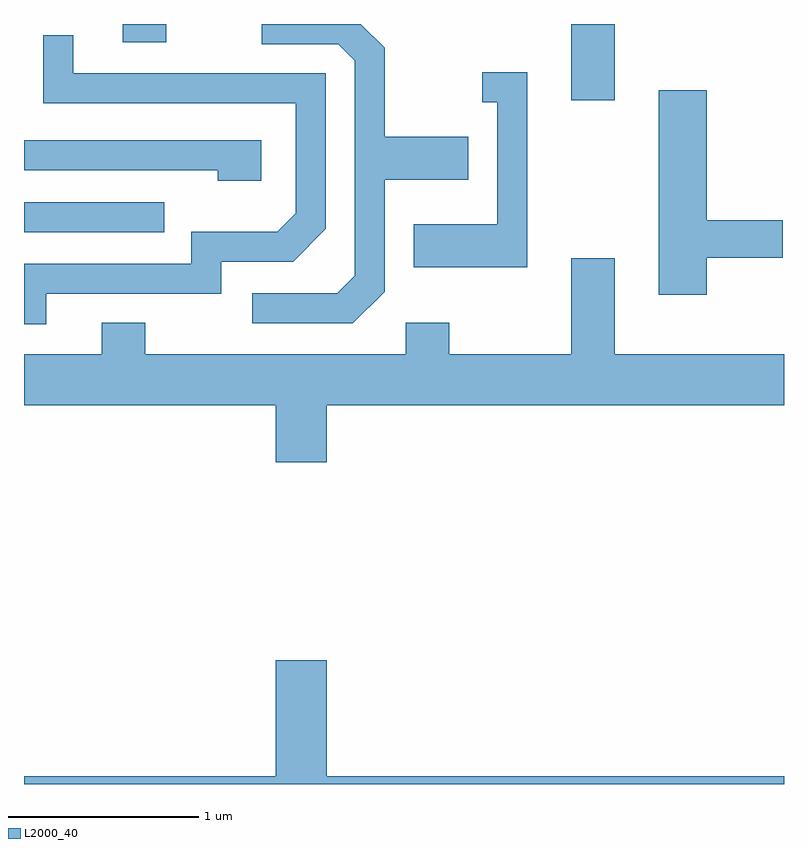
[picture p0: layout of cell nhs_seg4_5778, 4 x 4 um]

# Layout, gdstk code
import gdstk
lib = gdstk.Library(unit=1e-6, precision=1e-09)
def R(c, l, rs):  # rectangles x0, y0, x1, y1
    for r in rs: c.add(gdstk.rectangle(r[:2], r[2:], *l))
def P(c, l, *ps):  # polygons
    for p in ps: c.add(gdstk.Polygon(p, *l))
L2000_40 = (2000, 40)

nhs_seg4_5778 = lib.new_cell('nhs_seg4_5778')
R(nhs_seg4_5778, L2000_40, [(353.611,1388.886,354.348,1389.044), (356.491,1389.581,356.719,1389.982), (354.131,1389.886,354.359,1389.982)])
P(nhs_seg4_5778, L2000_40, [(355.509,1388.574),(355.509,1389.161),(355.949,1389.161),(355.949,1389.389),(355.509,1389.389),(355.509,1389.857),(355.384,1389.982),(354.863,1389.982),(354.863,1389.876),(355.264,1389.876),(355.351,1389.789),(355.351,1388.657),(355.259,1388.564),(354.813,1388.564),(354.813,1388.406),(355.342,1388.406)],
  [(353.729,1388.561),(354.649,1388.561),(354.649,1388.731),(355.027,1388.731),(355.199,1388.904),(355.199,1389.724),(353.869,1389.724),(353.869,1389.923),(353.711,1389.923),(353.711,1389.566),(355.041,1389.566),(355.041,1388.987),(354.944,1388.889),(354.491,1388.889),(354.491,1388.719),(353.611,1388.719),(353.611,1388.401),(353.729,1388.401)],
  [(356.259,1389.729),(356.023,1389.729),(356.023,1389.571),(356.101,1389.571),(356.101,1388.929),(355.661,1388.929),(355.661,1388.701),(356.259,1388.701)],
  [(357.204,1388.751),(357.604,1388.751),(357.604,1388.949),(357.204,1388.949),(357.204,1389.634),(356.951,1389.634),(356.951,1388.556),(357.204,1388.556)],
  [(354.859,1389.369),(353.611,1389.369),(353.611,1389.211),(354.631,1389.211),(354.631,1389.156),(354.859,1389.156)],
  [(355.204,1387.976),(357.611,1387.976),(357.611,1388.244),(356.719,1388.244),(356.719,1388.749),(356.491,1388.749),(356.491,1388.244),(355.849,1388.244),(355.849,1388.409),(355.621,1388.409),(355.621,1388.244),(354.249,1388.244),(354.249,1388.409),(354.021,1388.409),(354.021,1388.244),(353.611,1388.244),(353.611,1387.976),(354.936,1387.976),(354.936,1387.676),(355.204,1387.676)],
  [(357.611,1386.024),(355.204,1386.024),(355.204,1386.634),(354.936,1386.634),(354.936,1386.024),(353.611,1386.024),(353.611,1385.982),(357.611,1385.982)])

lib.write_gds('nhs_seg4_5778.gds')
